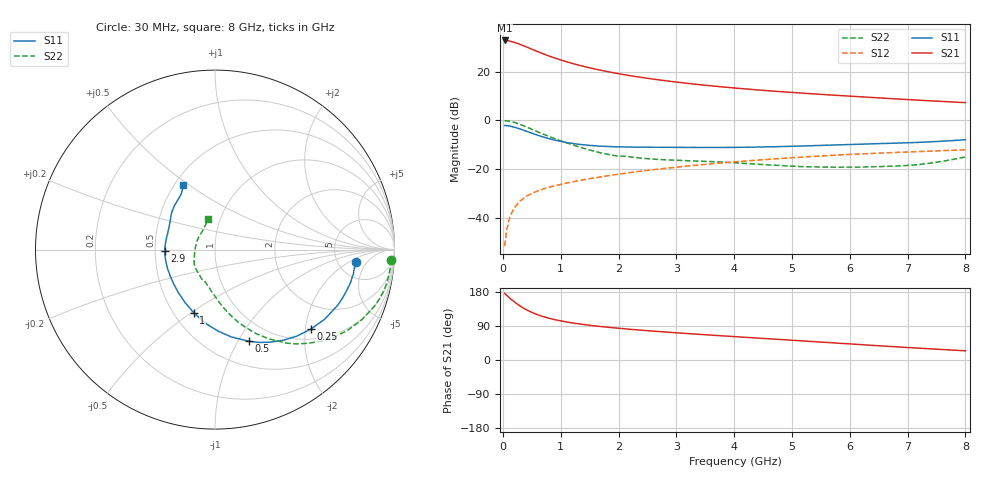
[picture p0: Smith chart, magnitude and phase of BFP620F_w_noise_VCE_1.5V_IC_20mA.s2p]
! Infineon Technologies  Discrete & RF Semiconductors
! BFP620F
! VCE =  1.5 V,  IC =  20 mA
! Common Emitter S-Parameters:  Dec 2014
# GHz  S  MA  R  50
!  f  S11  S21  S12  S22
! GHz  MAG  ANG  MAG  ANG  MAG  ANG  MAG  ANG
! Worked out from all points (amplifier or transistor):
!   95 points, 30 MHz to 8 GHz, reference 50 ohm
!   highest |S21| = 32.9 dB at 30 MHz (marker M1)
!   |S21| within 3 dB of that: start of sweep to 441.3 MHz
!   unconditionally stable (mu >= 1): 2.993 GHz to end of sweep
!   at 300 MHz: K = 0.28, MSG = 32.1 dB, |S12| = -33.1 dB
!   at 3.3 GHz: K = 1.01, MAG = 16.1 dB, |S12| = -18.5 dB
!   at 8 GHz: K = 1.06, MAG = 8.2 dB, |S12| = -12.1 dB
!   lowest NFmin = 0.84 dB at 450 MHz
!   S11 on the Smith chart (normalised r, x): 30 MHz: 7.39, -2.65; 250 MHz: 1.26, -2.15; 500 MHz: 0.77, -1.11; 1 GHz: 0.63, -0.51; 2.9 GHz: 0.56, -0.01; 8 GHz: 0.55, +0.48
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0.03  0.7862 -5.0  43.92 175.6  0.0026 94.9  0.9803 -3.3
0.08  0.7776 -13.5  43.44 168.5  0.0066 86.2  0.9761 -10.3
0.15  0.749 -24.8  41.69 159.3  0.0124 78.5  0.9428 -19.5
0.2  0.7239 -32.4  39.98 153.3  0.0158 74.7  0.9067 -25.6
0.25  0.6941 -39.6  38.25 147.5  0.0192 72.9  0.8667 -31.1
0.3  0.6644 -46.4  36.39 142.3  0.0222 70.4  0.8246 -36.3
0.35  0.6335 -52.8  34.4 137.6  0.0245 68.7  0.7795 -41.0
0.4  0.6018 -58.9  32.63 133.2  0.0274 66.8  0.7359 -45.1
0.5  0.5452 -69.6  29.08 125.8  0.0315 63.7  0.6559 -52.6
0.6  0.4955 -79.3  25.97 119.5  0.0354 61.6  0.583 -58.7
0.7  0.4555 -87.6  23.32 114.4  0.0389 60.2  0.5208 -64.0
0.8  0.4215 -95.3  21.01 110.1  0.0422 59.7  0.4672 -68.4
1  0.371 -108.7  17.46 103.3  0.0483 59.0  0.3814 -76.1
1.2  0.3371 -120.3  14.84 97.9  0.0545 58.8  0.3167 -82.8
1.4  0.3151 -130.5  12.86 93.6  0.0604 58.5  0.2668 -89.1
2  0.2855 -154.8  9.124 83.8  0.0785 57.8  0.1841 -108.8
2.7  0.2801 -173.8  6.8 75.1  0.0998 55.4  0.1572 -127.8
2.9  0.2792 -178.1  6.337 72.9  0.106 54.7  0.1533 -132.1
4.1  0.2793 160.4  4.529 60.8  0.1433 48.9  0.1324 -151.1
5.4  0.3034 144.6  3.49 48.3  0.1827 40.8  0.1108 179.5
6.7  0.3378 130.3  2.809 35.7  0.217 31.7  0.1142 142.8
8  0.4012 116.1  2.32 24.2  0.2481 22.8  0.177 102.3
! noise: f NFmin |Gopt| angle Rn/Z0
0.45  0.84  0.05  2  0.21
0.9  0.9  0.04  6  0.18
1.5  0.94  0.04  8  0.15
1.8  0.96  0.04  9  0.15
1.9  0.97  0.01  28  0.15
2.4  1.01  0.01  88  0.15
3.5  1.08  0.04  -178  0.15
5.5  1.22  0.15  230  0.1
6  1.25  0.15  253  0.14
